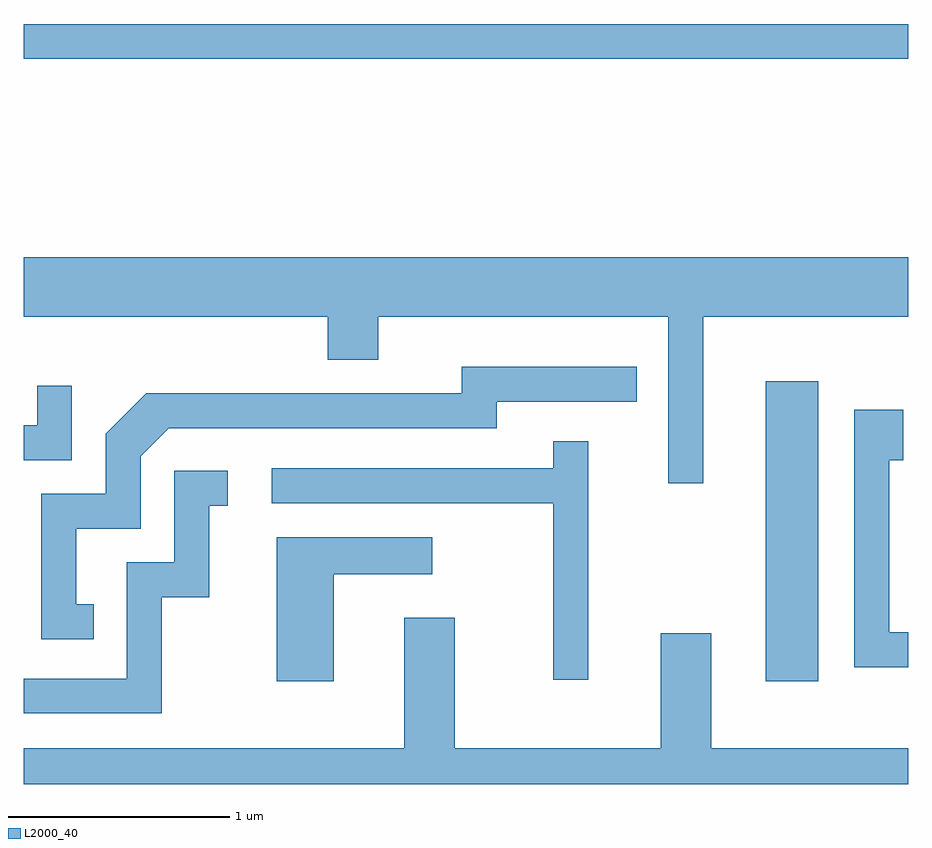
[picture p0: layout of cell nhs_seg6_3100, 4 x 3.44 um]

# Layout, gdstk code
import gdstk
lib = gdstk.Library(unit=1e-6, precision=1e-09)
def R(c, l, rs):  # rectangles x0, y0, x1, y1
    for r in rs: c.add(gdstk.rectangle(r[:2], r[2:], *l))
def P(c, l, *ps):  # polygons
    for p in ps: c.add(gdstk.Polygon(p, *l))
L2000_40 = (2000, 40)

nhs_seg6_3100 = lib.new_cell('nhs_seg6_3100')
R(nhs_seg6_3100, L2000_40, [(282.966,1530.626,283.204,1531.984), (279.611,1533.441,283.611,1533.599)])
P(nhs_seg6_3100, L2000_40, [(279.611,1532.276),(280.986,1532.276),(280.986,1532.081),(281.214,1532.081),(281.214,1532.276),(282.526,1532.276),(282.526,1531.523),(282.684,1531.523),(282.684,1532.276),(283.611,1532.276),(283.611,1532.544),(279.611,1532.544)],
  [(279.928,1530.974),(279.849,1530.974),(279.849,1531.316),(280.139,1531.316),(280.139,1531.644),(280.267,1531.771),(281.749,1531.771),(281.749,1531.891),(282.383,1531.891),(282.383,1532.049),(281.591,1532.049),(281.591,1531.929),(280.164,1531.929),(279.981,1531.747),(279.981,1531.474),(279.691,1531.474),(279.691,1530.816),(279.928,1530.816)],
  [(279.829,1531.963),(279.671,1531.963),(279.671,1531.784),(279.611,1531.784),(279.611,1531.626),(279.829,1531.626)],
  [(283.611,1530.849),(283.524,1530.849),(283.524,1531.626),(283.589,1531.626),(283.589,1531.854),(283.366,1531.854),(283.366,1530.691),(283.611,1530.691)],
  [(282.164,1531.713),(282.006,1531.713),(282.006,1531.589),(280.733,1531.589),(280.733,1531.431),(282.006,1531.431),(282.006,1530.633),(282.164,1530.633)],
  [(280.234,1531.006),(280.449,1531.006),(280.449,1531.421),(280.533,1531.421),(280.533,1531.579),(280.291,1531.579),(280.291,1531.164),(280.076,1531.164),(280.076,1530.639),(279.611,1530.639),(279.611,1530.481),(280.234,1530.481)],
  [(281.014,1531.111),(281.458,1531.111),(281.458,1531.279),(280.756,1531.279),(280.756,1530.626),(281.014,1530.626)],
  [(283.611,1530.324),(282.719,1530.324),(282.719,1530.844),(282.491,1530.844),(282.491,1530.324),(281.559,1530.324),(281.559,1530.914),(281.331,1530.914),(281.331,1530.324),(279.611,1530.324),(279.611,1530.162),(283.611,1530.162)])

lib.write_gds('nhs_seg6_3100.gds')
